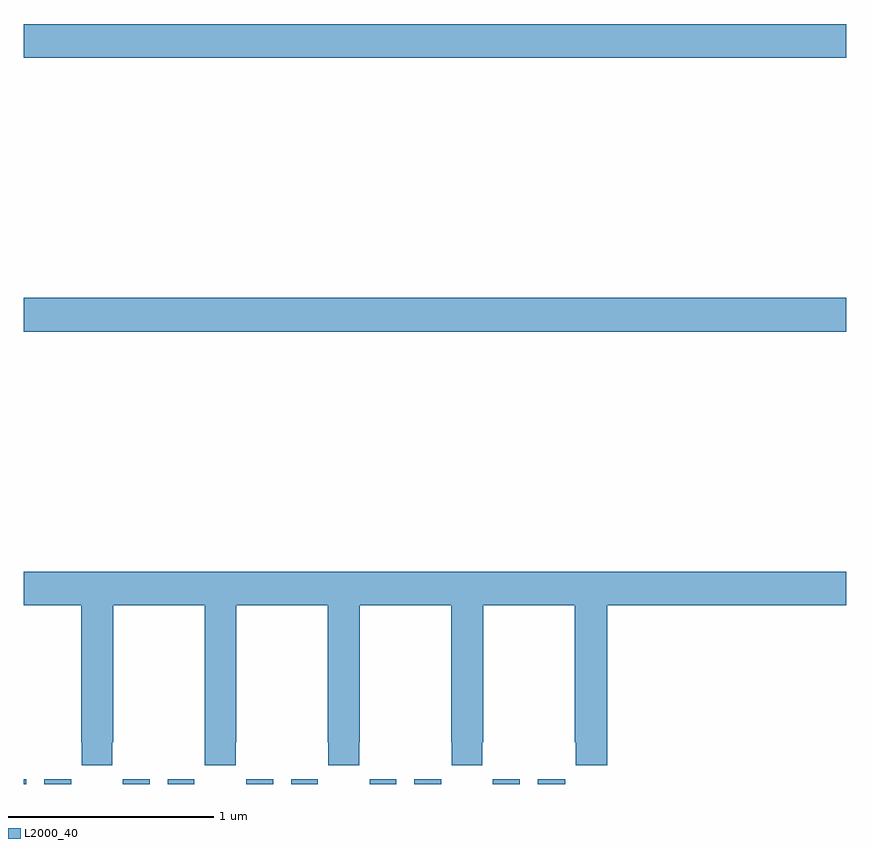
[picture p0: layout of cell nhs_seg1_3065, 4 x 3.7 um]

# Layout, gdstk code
import gdstk
lib = gdstk.Library(unit=1e-6, precision=1e-09)
def R(c, l, rs):  # rectangles x0, y0, x1, y1
    for r in rs: c.add(gdstk.rectangle(r[:2], r[2:], *l))
def P(c, l, *ps):  # polygons
    for p in ps: c.add(gdstk.Polygon(p, *l))
L2000_40 = (2000, 40)

nhs_seg1_3065 = lib.new_cell('nhs_seg1_3065')
R(nhs_seg1_3065, L2000_40, [(277,548.199,277.012,548.221), (277.1,548.199,277.23,548.221), (277.482,548.199,277.612,548.221), (277.7,548.199,277.83,548.221), (278.082,548.199,278.212,548.221), (278.3,548.199,278.43,548.221), (278.682,548.199,278.812,548.221), (278.9,548.199,279.03,548.221), (279.282,548.199,279.412,548.221), (279.5,548.199,279.634,548.221), (277,550.4,281,550.564), (277,551.732,281,551.896)])
P(nhs_seg1_3065, L2000_40, [(277.431,548.401),(277.434,548.401),(277.434,549.068),(277.879,549.068),(277.879,548.401),(277.881,548.401),(277.881,548.289),(278.031,548.289),(278.031,548.401),(278.034,548.401),(278.034,549.068),(278.479,549.068),(278.479,548.401),(278.481,548.401),(278.481,548.289),(278.631,548.289),(278.631,548.401),(278.634,548.401),(278.634,549.068),(279.079,549.068),(279.079,548.401),(279.081,548.401),(279.081,548.289),(279.231,548.289),(279.231,548.401),(279.234,548.401),(279.234,549.068),(279.679,549.068),(279.679,548.401),(279.685,548.401),(279.685,548.289),(279.839,548.289),(279.839,549.068),(281,549.068),(281,549.232),(277,549.232),(277,549.068),(277.279,549.068),(277.279,548.401),(277.281,548.401),(277.281,548.289),(277.431,548.289)])

lib.write_gds('nhs_seg1_3065.gds')
